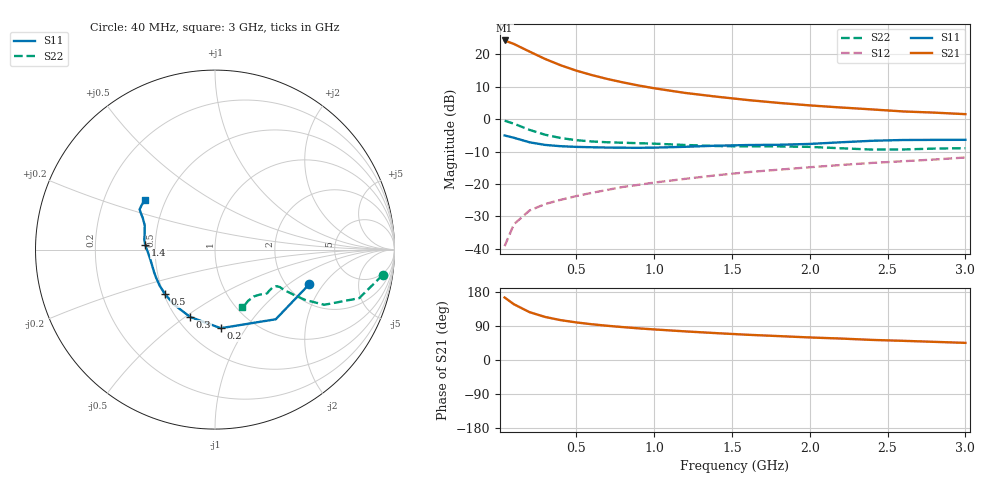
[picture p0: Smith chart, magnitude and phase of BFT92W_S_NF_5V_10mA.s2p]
! Filename:  BFT92WC.S2P  Version:  4.0
! Philips part #: BFT92W  Date: Jun 1994
! Bias condition: Vce=5V, Ic=10mA
#  MHz  S  MA  R  50
! Freq  S11  S21  S12  S22  !GUM [dB]
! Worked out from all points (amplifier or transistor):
!   21 points, 40 MHz to 3 GHz, reference 50 ohm
!   highest |S21| = 24.2 dB at 40 MHz (marker M1)
!   |S21| within 3 dB of that: start of sweep to 181.8 MHz
!   unconditionally stable (mu >= 1): 579.2 MHz to end of sweep
!   at 300 MHz: K = 0.73, MSG = 22.4 dB, |S12| = -26.2 dB
!   at 1 GHz: K = 1.15, MAG = 12.2 dB, |S12| = -19.6 dB
!   at 3 GHz: K = 1.12, MAG = 4.6 dB, |S12| = -11.8 dB
!   lowest NFmin = 3.00 dB at 500 MHz
!   S11 on the Smith chart (normalised r, x): 40 MHz: 2.61, -1.47; 200 MHz: 0.72, -0.78; 300 MHz: 0.58, -0.52; 500 MHz: 0.51, -0.29; 1.4 GHz: 0.44, +0.02; 3 GHz: 0.38, +0.28
40  0.559 -20.3  16.28 164.9  0.011 80.1  0.945 -8.6
100  0.515 -48.9  14.36 147.0  0.024 70.2  0.848 -18.6
200  0.439 -85.8  10.98 126.3  0.039 61.8  0.682 -26.8
300  0.4 -110.3  8.449 113.6  0.049 59.2  0.574 -29.2
400  0.382 -126.9  6.752 105.2  0.057 59.7  0.511 -29.8
500  0.373 -138.1  5.586 99.2  0.065 60.8  0.473 -30.1
600  0.368 -146.9  4.77 94.3  0.073 62.3  0.452 -30.3
700  0.364 -153.6  4.151 90.3  0.081 63.5  0.439 -30.3
800  0.362 -159.5  3.677 86.8  0.09 64.6  0.432 -30.2
900  0.361 -164.7  3.295 83.5  0.097 65.4  0.425 -30.1
1000  0.363 -169.6  2.987 80.7  0.105 66.1  0.418 -30.0
1200  0.374 -177.7  2.529 75.5  0.12 67.3  0.399 -30.7
1400  0.389 176.5  2.218 70.9  0.136 68.2  0.384 -33.5
1600  0.398 172.0  1.968 66.6  0.152 68.4  0.379 -37.4
1800  0.402 167.0  1.776 63.1  0.166 69.2  0.379 -40.0
2000  0.414 161.0  1.626 59.5  0.181 69.8  0.373 -41.7
2200  0.439 156.4  1.509 56.6  0.196 70.3  0.355 -44.7
2400  0.463 153.5  1.409 53.0  0.211 70.7  0.339 -50.4
2600  0.476 151.9  1.311 50.6  0.224 70.6  0.34 -57.2
2800  0.478 148.9  1.258 47.9  0.238 71.2  0.351 -61.9
3000  0.479 144.7  1.191 45.2  0.256 71.5  0.356 -64.9
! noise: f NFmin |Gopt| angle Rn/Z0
500  3  0.15  76  0.44
1000  3.9  0.2  113  0.53
